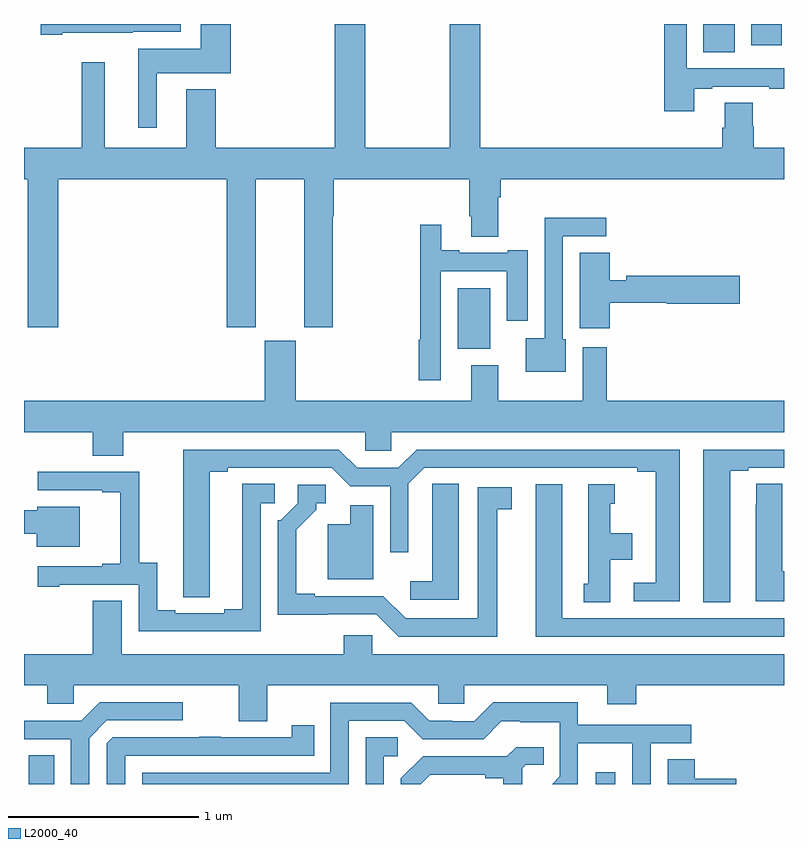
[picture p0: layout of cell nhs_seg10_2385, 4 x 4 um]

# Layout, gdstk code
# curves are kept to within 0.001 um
import gdstk
lib = gdstk.Library(unit=1e-6, precision=1e-09)
def R(c, l, rs):  # rectangles x0, y0, x1, y1
    for r in rs: c.add(gdstk.rectangle(r[:2], r[2:], *l))
def P(c, l, *ps):  # polygons
    for p in ps: c.add(gdstk.Polygon(p, *l))
L2000_40 = (2000, 40)

nhs_seg10_2385 = lib.new_cell('nhs_seg10_2385')
R(nhs_seg10_2385, L2000_40, [(239.024,1262.5,239.158,1262.651), (242.009,1262.5,242.113,1262.563), (241.283,1264.79,241.453,1265.11), (242.576,1266.352,242.74,1266.5), (242.828,1266.387,242.989,1266.5)])
P(nhs_seg10_2385, L2000_40, [(241.4,1266.5),(241.24,1266.5),(241.24,1265.848),(240.795,1265.848),(240.795,1266.5),(240.635,1266.5),(240.635,1265.848),(240.008,1265.848),(240.008,1266.157),(239.855,1266.157),(239.855,1265.848),(239.425,1265.848),(239.425,1266.298),(239.304,1266.298),(239.304,1265.848),(239,1265.848),(239,1265.684),(239.02,1265.684),(239.02,1264.905),(239.18,1264.905),(239.18,1265.684),(240.068,1265.684),(240.068,1264.905),(240.22,1264.905),(240.22,1265.684),(240.476,1265.684),(240.476,1264.905),(240.624,1264.905),(240.624,1265.488),(240.629,1265.488),(240.629,1265.684),(241.343,1265.684),(241.343,1265.488),(241.355,1265.488),(241.355,1265.38),(241.495,1265.38),(241.495,1265.588),(241.508,1265.588),(241.508,1265.684),(243,1265.684),(243,1265.848),(242.84,1265.848),(242.84,1265.961),(242.835,1265.961),(242.835,1266.086),(242.687,1266.086),(242.687,1265.954),(242.675,1265.954),(242.675,1265.848),(241.4,1265.848)],
  [(239.2,1266.455),(239.572,1266.455),(239.572,1266.459),(239.824,1266.459),(239.824,1266.5),(239.088,1266.5),(239.088,1266.443),(239.2,1266.443)],
  [(242.527,1266.159),(242.623,1266.159),(242.623,1266.171),(242.923,1266.171),(242.923,1266.159),(243,1266.159),(243,1266.267),(242.487,1266.267),(242.487,1266.5),(242.371,1266.5),(242.371,1266.042),(242.527,1266.042)],
  [(239.698,1266.242),(240.089,1266.242),(240.089,1266.5),(239.93,1266.5),(239.93,1266.37),(239.704,1266.37),(239.704,1266.369),(239.602,1266.369),(239.602,1266.266),(239.6,1266.266),(239.6,1265.955),(239.698,1265.955)],
  [(241.852,1264.842),(241.836,1264.842),(241.836,1265.382),(242.065,1265.382),(242.065,1265.48),(241.74,1265.48),(241.74,1264.846),(241.64,1264.846),(241.64,1264.67),(241.852,1264.67)],
  [(241.194,1265.199),(241.541,1265.199),(241.541,1264.938),(241.651,1264.938),(241.651,1265.308),(241.547,1265.308),(241.547,1265.295),(241.291,1265.295),(241.291,1265.308),(241.195,1265.308),(241.195,1265.443),(241.086,1265.443),(241.086,1264.838),(241.078,1264.838),(241.078,1264.626),(241.194,1264.626)],
  [(242.082,1265.032),(242.382,1265.032),(242.382,1265.027),(242.767,1265.027),(242.767,1265.174),(242.17,1265.174),(242.17,1265.151),(242.082,1265.151),(242.082,1265.297),(241.925,1265.297),(241.925,1264.899),(242.082,1264.899)],
  [(239.523,1264.352),(240.795,1264.352),(240.795,1264.254),(240.933,1264.254),(240.933,1264.352),(243,1264.352),(243,1264.516),(242.066,1264.516),(242.066,1264.798),(241.94,1264.798),(241.94,1264.516),(241.495,1264.516),(241.495,1264.705),(241.355,1264.705),(241.355,1264.516),(240.43,1264.516),(240.43,1264.833),(240.266,1264.833),(240.266,1264.516),(239,1264.516),(239,1264.352),(239.363,1264.352),(239.363,1264.228),(239.523,1264.228)],
  [(242.716,1264.149),(242.812,1264.149),(242.812,1264.164),(243,1264.164),(243,1264.26),(242.576,1264.26),(242.576,1263.457),(242.716,1263.457)],
  [(242.452,1264.26),(241.067,1264.26),(240.971,1264.164),(240.753,1264.164),(240.657,1264.26),(239.837,1264.26),(239.838,1263.484),(239.977,1263.484),(239.977,1264.144),(240.073,1264.144),(240.073,1264.164),(240.621,1264.164),(240.717,1264.068),(240.927,1264.068),(240.927,1263.72),(241.023,1263.72),(241.023,1264.08),(241.107,1264.164),(242.228,1264.164),(242.228,1264.144),(242.324,1264.144),(242.324,1263.558),(242.208,1263.558),(242.208,1263.462),(242.452,1263.462)],
  [(240.246,1263.978),(240.319,1263.978),(240.319,1264.079),(240.149,1264.079),(240.149,1263.419),(240.053,1263.419),(240.053,1263.399),(239.797,1263.399),(239.797,1263.414),(239.701,1263.414),(239.701,1263.665),(239.607,1263.665),(239.607,1264.143),(239.073,1264.143),(239.073,1264.047),(239.411,1264.047),(239.411,1264.035),(239.507,1264.035),(239.507,1263.658),(239.411,1263.658),(239.411,1263.645),(239.073,1263.645),(239.073,1263.537),(239.185,1263.537),(239.185,1263.549),(239.604,1263.549),(239.604,1263.303),(240.246,1263.303)],
  [(241.288,1264.079),(241.149,1264.079),(241.149,1263.971),(241.148,1263.971),(241.148,1263.568),(241.032,1263.568),(241.032,1263.471),(241.288,1263.471)],
  [(243,1263.621),(242.992,1263.621),(242.992,1264.079),(242.853,1264.079),(242.853,1263.971),(242.852,1263.971),(242.852,1263.461),(243,1263.461)],
  [(242.086,1263.68),(242.2,1263.68),(242.2,1263.82),(242.086,1263.82),(242.086,1263.975),(242.11,1263.975),(242.11,1264.078),(241.97,1264.078),(241.97,1263.555),(241.946,1263.555),(241.946,1263.457),(242.086,1263.457)],
  [(243,1263.372),(241.834,1263.372),(241.834,1264.078),(241.694,1264.078),(241.694,1263.276),(243,1263.276)],
  [(241.492,1263.946),(241.567,1263.946),(241.567,1264.062),(241.388,1264.062),(241.388,1263.372),(241.008,1263.372),(240.891,1263.489),(240.529,1263.489),(240.529,1263.502),(240.433,1263.502),(240.433,1263.838),(240.538,1263.943),(240.538,1263.978),(240.589,1263.978),(240.589,1264.074),(240.441,1264.074),(240.441,1263.978),(240.351,1263.888),(240.336,1263.888),(240.336,1263.392),(240.855,1263.393),(240.972,1263.276),(241.492,1263.276)],
  [(240.838,1263.967),(240.716,1263.967),(240.716,1263.868),(240.599,1263.868),(240.599,1263.578),(240.838,1263.578)],
  [(239.293,1263.958),(239.07,1263.958),(239.07,1263.94),(239,1263.94),(239,1263.818),(239.066,1263.818),(239.066,1263.749),(239.293,1263.749)],
  [(240.279,1263.02),(241.179,1263.02),(241.179,1262.922),(241.317,1262.922),(241.317,1263.02),(242.069,1263.02),(242.069,1262.921),(242.222,1262.921),(242.222,1263.02),(243,1263.02),(243,1263.184),(240.834,1263.184),(240.834,1263.282),(240.683,1263.282),(240.683,1263.184),(239.515,1263.184),(239.515,1263.464),(239.363,1263.464),(239.363,1263.184),(239,1263.184),(239,1263.02),(239.123,1263.02),(239.123,1262.922),(239.262,1262.922),(239.262,1263.02),(240.131,1263.02),(240.131,1262.83),(240.279,1262.83)],
  [(239.343,1262.742),(239.436,1262.835),(239.836,1262.835),(239.836,1262.931),(239.399,1262.931),(239.3,1262.832),(239,1262.832),(239,1262.736),(239.247,1262.736),(239.247,1262.5),(239.343,1262.5)],
  [(240.708,1262.832),(241.002,1262.832),(241.098,1262.736),(241.419,1262.736),(241.512,1262.829),(241.612,1262.829),(241.612,1262.825),(241.821,1262.825),(241.821,1262.541),(241.78,1262.5),(241.914,1262.5),(241.914,1262.714),(242.202,1262.714),(242.202,1262.5),(242.298,1262.5),(242.298,1262.715),(242.512,1262.715),(242.512,1262.811),(241.915,1262.811),(241.915,1262.929),(241.471,1262.929),(241.371,1262.829),(241.254,1262.829),(241.254,1262.832),(241.134,1262.832),(241.038,1262.928),(240.612,1262.928),(240.612,1262.559),(239.622,1262.559),(239.622,1262.5),(240.708,1262.5)],
  [(239.532,1262.649),(240.527,1262.649),(240.527,1262.809),(240.409,1262.809),(240.409,1262.745),(240.035,1262.745),(240.035,1262.75),(239.923,1262.75),(239.923,1262.745),(239.466,1262.745),(239.436,1262.715),(239.436,1262.5),(239.532,1262.5)],
  [(240.894,1262.646),(240.967,1262.646),(240.967,1262.747),(240.798,1262.747),(240.798,1262.5),(240.894,1262.5)],
  [(241.138,1262.55),(241.427,1262.55),(241.427,1262.53),(241.523,1262.53),(241.523,1262.5),(241.623,1262.5),(241.623,1262.583),(241.641,1262.601),(241.736,1262.601),(241.736,1262.693),(241.59,1262.693),(241.542,1262.646),(241.1,1262.646),(240.984,1262.53),(240.984,1262.5),(241.088,1262.5)],
  [(242.749,1262.528),(242.531,1262.528),(242.531,1262.63),(242.387,1262.63),(242.387,1262.5),(242.749,1262.5)])

lib.write_gds('nhs_seg10_2385.gds')
